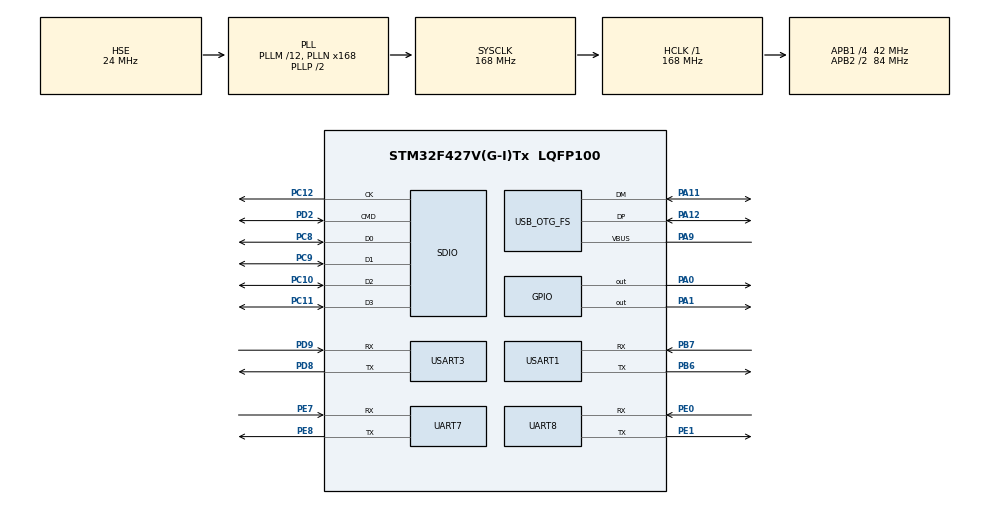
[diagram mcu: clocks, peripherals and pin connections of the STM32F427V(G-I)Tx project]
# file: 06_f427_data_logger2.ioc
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Dma.Request0=USART3_TX
Dma.Request1=SDIO_RX
Dma.Request2=SDIO_TX
Dma.SDIO_RX.1.Direction=DMA_PERIPH_TO_MEMORY
Dma.SDIO_RX.1.FIFOMode=DMA_FIFOMODE_ENABLE
Dma.SDIO_RX.1.FIFOThreshold=DMA_FIFO_THRESHOLD_FULL
Dma.SDIO_RX.1.Instance=DMA2_Stream3
Dma.SDIO_RX.1.MemBurst=DMA_MBURST_INC4
Dma.SDIO_RX.1.MemDataAlignment=DMA_MDATAALIGN_WORD
Dma.SDIO_RX.1.MemInc=DMA_MINC_ENABLE
Dma.SDIO_RX.1.Mode=DMA_PFCTRL
Dma.SDIO_RX.1.PeriphBurst=DMA_PBURST_INC4
Dma.SDIO_RX.1.PeriphDataAlignment=DMA_PDATAALIGN_WORD
Dma.SDIO_RX.1.PeriphInc=DMA_PINC_DISABLE
Dma.SDIO_RX.1.Priority=DMA_PRIORITY_VERY_HIGH
Dma.SDIO_TX.2.Direction=DMA_MEMORY_TO_PERIPH
Dma.SDIO_TX.2.FIFOMode=DMA_FIFOMODE_ENABLE
Dma.SDIO_TX.2.FIFOThreshold=DMA_FIFO_THRESHOLD_FULL
Dma.SDIO_TX.2.Instance=DMA2_Stream6
Dma.SDIO_TX.2.MemBurst=DMA_MBURST_INC4
Dma.SDIO_TX.2.MemDataAlignment=DMA_MDATAALIGN_WORD
Dma.SDIO_TX.2.MemInc=DMA_MINC_ENABLE
Dma.SDIO_TX.2.Mode=DMA_PFCTRL
Dma.SDIO_TX.2.PeriphBurst=DMA_PBURST_INC4
Dma.SDIO_TX.2.PeriphDataAlignment=DMA_PDATAALIGN_WORD
Dma.SDIO_TX.2.PeriphInc=DMA_PINC_DISABLE
Dma.SDIO_TX.2.Priority=DMA_PRIORITY_VERY_HIGH
Dma.USART3_TX.0.Direction=DMA_MEMORY_TO_PERIPH
Dma.USART3_TX.0.FIFOMode=DMA_FIFOMODE_DISABLE
Dma.USART3_TX.0.Instance=DMA1_Stream3
Dma.USART3_TX.0.MemDataAlignment=DMA_MDATAALIGN_BYTE
Dma.USART3_TX.0.MemInc=DMA_MINC_ENABLE
Dma.USART3_TX.0.Mode=DMA_NORMAL
Dma.USART3_TX.0.PeriphDataAlignment=DMA_PDATAALIGN_BYTE
Dma.USART3_TX.0.PeriphInc=DMA_PINC_DISABLE
Dma.USART3_TX.0.Priority=DMA_PRIORITY_LOW
FATFS._CODE_PAGE=949
FATFS._MAX_SS=512
FATFS._USE_LFN=1
Mcu.Family=STM32F4
Mcu.Name=STM32F427V(G-I)Tx
Mcu.Package=LQFP100
NVIC.DMA1_Stream3_IRQn=true\:0\:0\:false\:false\:true\:false\:true\:true
NVIC.DMA2_Stream3_IRQn=true\:0\:0\:false\:false\:true\:false\:true\:true
NVIC.DMA2_Stream6_IRQn=true\:0\:0\:false\:false\:true\:false\:true\:true
NVIC.OTG_FS_IRQn=true\:0\:0\:false\:false\:true\:false\:true\:true
NVIC.PriorityGroup=NVIC_PRIORITYGROUP_4
NVIC.RTC_Alarm_IRQn=true\:5\:0\:true\:false\:true\:true\:true\:true
NVIC.TIM7_IRQn=true\:0\:0\:false\:false\:true\:true\:true\:true
NVIC.UART7_IRQn=true\:1\:0\:true\:false\:true\:true\:true\:true
NVIC.UART8_IRQn=true\:2\:0\:true\:false\:true\:true\:true\:true
NVIC.USART1_IRQn=true\:4\:0\:true\:false\:true\:true\:true\:true
NVIC.USART3_IRQn=true\:3\:0\:true\:false\:true\:true\:true\:true
PA0/WKUP.Signal=GPIO_Output
PA1.Signal=GPIO_Output
PA11.Mode=Device_Only
PA11.Signal=USB_OTG_FS_DM
PA12.Mode=Device_Only
PA12.Signal=USB_OTG_FS_DP
PA9.Mode=Activate_VBUS
PA9.Signal=USB_OTG_FS_VBUS
PB6.Mode=Asynchronous
PB6.Signal=USART1_TX
PB7.Mode=Asynchronous
PB7.Signal=USART1_RX
PC10.Mode=SD_4_bits_Wide_bus
PC10.Signal=SDIO_D2
PC11.Mode=SD_4_bits_Wide_bus
PC11.Signal=SDIO_D3
PC12.Mode=SD_4_bits_Wide_bus
PC12.Signal=SDIO_CK
PC14/OSC32_IN.Mode=LSE-External-Oscillator
PC14/OSC32_IN.Signal=RCC_OSC32_IN
PC15/OSC32_OUT.Mode=LSE-External-Oscillator
PC15/OSC32_OUT.Signal=RCC_OSC32_OUT
PC8.Mode=SD_4_bits_Wide_bus
PC8.Signal=SDIO_D0
PC9.Mode=SD_4_bits_Wide_bus
PC9.Signal=SDIO_D1
PD2.Mode=SD_4_bits_Wide_bus
PD2.Signal=SDIO_CMD
PD8.Mode=Asynchronous
PD8.Signal=USART3_TX
PD9.Mode=Asynchronous
PD9.Signal=USART3_RX
PE0.Mode=Asynchronous
PE0.Signal=UART8_RX
PE1.Mode=Asynchronous
PE1.Signal=UART8_TX
PE7.Mode=Asynchronous
PE7.Signal=UART7_RX
PE8.Mode=Asynchronous
PE8.Signal=UART7_TX
PH0/OSC_IN.Mode=HSE-External-Oscillator
PH0/OSC_IN.Signal=RCC_OSC_IN
PH1/OSC_OUT.Mode=HSE-External-Oscillator
PH1/OSC_OUT.Signal=RCC_OSC_OUT
ProjectManager.HeapSize=0x4000
ProjectManager.StackSize=0x8000
ProjectManager.TargetToolchain=STM32CubeIDE
RCC.48MHZClocksFreq_Value=48000000
RCC.AHBFreq_Value=168000000
RCC.APB1CLKDivider=RCC_HCLK_DIV4
RCC.APB1Freq_Value=42000000
RCC.APB1TimFreq_Value=84000000
RCC.APB2CLKDivider=RCC_HCLK_DIV2
RCC.APB2Freq_Value=84000000
RCC.APB2TimFreq_Value=168000000
RCC.CortexFreq_Value=168000000
RCC.HCLKFreq_Value=168000000
RCC.HSE_VALUE=24000000
RCC.HSI_VALUE=16000000
RCC.PLLM=12
RCC.PLLN=168
RCC.PLLQ=7
RCC.RCC_RTC_Clock_Source=RCC_RTCCLKSOURCE_LSE
RCC.RCC_RTC_Clock_SourceVirtual=RCC_RTCCLKSOURCE_HSE_DIV24
RCC.RCC_RTC_Clock_Source_FROM_HSE=RCC_RTCCLKSOURCE_HSE_DIV24
RCC.SYSCLKFreq_VALUE=168000000
RCC.SYSCLKSource=RCC_SYSCLKSOURCE_PLLCLK
RCC.VCOOutputFreq_Value=336000000
RTC.Alarm=RTC_ALARM_A
RTC.AsynchPrediv=127
RTC.Date=1
RTC.DayLightSaving=RTC_DAYLIGHTSAVING_NONE
RTC.Format=RTC_FORMAT_BIN
RTC.HourFormat=RTC_HOURFORMAT_24
RTC.Hours=23
RTC.Minutes=59
RTC.Month=RTC_MONTH_JANUARY
RTC.Seconds=59
RTC.StoreOperation=RTC_STOREOPERATION_RESET
RTC.SynchPrediv=255
RTC.Year=22
SDIO.ClockDiv=10
TIM7.Period=9999
TIM7.Prescaler=8399
UART7.VirtualMode=Asynchronous
UART8.VirtualMode=Asynchronous
USART1.VirtualMode=VM_ASYNC
USART3.OverSampling=UART_OVERSAMPLING_8
USART3.VirtualMode=VM_ASYNC
USB_DEVICE.CLASS_NAME_FS=MSC
USB_DEVICE.LANGID_STRING-MSC_FS=1042
USB_DEVICE.MANUFACTURER_STRING-MSC_FS=THE PEACH
USB_DEVICE.PRODUCT_STRING_MSC_FS=THE PEACH Storage
USB_DEVICE.VirtualMode-MSC_FS=Msc
USB_DEVICE.VirtualModeFS=Msc_FS
USB_OTG_FS.VirtualMode=Device_Only
VP_FATFS_VS_SDIO.Mode=SDIO
VP_RTC_VS_RTC_Activate.Mode=RTC_Enabled
VP_RTC_VS_RTC_Alarm_A_Intern.Mode=Alarm A
VP_RTC_VS_RTC_Calendar.Mode=RTC_Calendar
VP_TIM7_VS_ClockSourceINT.Mode=Enable_Timer
VP_USB_DEVICE_VS_USB_DEVICE_MSC_FS.Mode=MSC_FS
board=custom

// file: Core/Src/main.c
/* USER CODE BEGIN Header */
/**
  ******************************************************************************
  * @file           : main.c
  * @brief          : Main program body
  ******************************************************************************
  * @attention
  *
  * Copyright (c) 2022 STMicroelectronics.
  * All rights reserved.
  *
  * This software is licensed under terms that can be found in the LICENSE file
  * in the root directory of this software component.
  * If no LICENSE file comes with this software, it is provided AS-IS.
  *
  ******************************************************************************
  */
/* USER CODE END Header */
#include "main.h"
#include "fatfs.h"
#include "usb_device.h"

/* USER CODE BEGIN Includes */
#include "File_Handling.h"
RTC_AlarmTypeDef sAlarm;
RTC_TimeTypeDef sTime;
RTC_DateTypeDef sDate;
FILINFO ano;
FRESULT afresult;
FATFS *apfs;
FATFS afs;
FIL afil;
UINT abr;

/* USER CODE END Includes */

/* USER CODE BEGIN PTD */
HAL_SD_CardInfoTypeDef SDCardInfo;
/* USER CODE END PTD */

 RTC_HandleTypeDef hrtc;

SD_HandleTypeDef hsd;
DMA_HandleTypeDef hdma_sdio_rx;
DMA_HandleTypeDef hdma_sdio_tx;

TIM_HandleTypeDef htim7;

UART_HandleTypeDef huart7;
UART_HandleTypeDef huart8;
UART_HandleTypeDef huart1;
UART_HandleTypeDef huart3;
DMA_HandleTypeDef hdma_usart3_tx;

void SystemClock_Config(void);
static void MX_GPIO_Init(void);
static void MX_SDIO_SD_Init(void);
static void MX_UART8_Init(void);
static void MX_RTC_Init(void);
static void MX_TIM7_Init(void);
static void MX_USART3_UART_Init(void);
static void MX_DMA_Init(void);
static void MX_USART1_UART_Init(void);
static void MX_UART7_Init(void);

/* USER CODE BEGIN 0 */
uint8_t buffer[100]={0};
int indx = 0;

#include <stdio.h>
#include <stdlib.h>
#include <string.h>
char aShowTime[10] = {0};
char aShowDate[9] = {0};
char aSensData[150]={0};
uint8_t SensData=0;
uint8_t SensData_index=0;
char aSensDatacall[24]="{CMD=20,DADDR=1,CHS=999}";
char Temp[10]={0};	//Temperature
char Hum[10]={0};	//humidity
char Sun[10]={0};	// sunshine
char Rain[2]={0};	// rain direction
char Wind_direction[10];
char Wind_d[10];	// wind direction
char Wind_s[7]={0};	// wind speed
char SMO[10]={0};	// soil moisture
char STP[10]={0};	// soil Temperature
char SEC[10]={0};	// soil EC
int i=0;
int alram_cnt=0;

char Fname[20]={0};	//file name save

/*command for file read, RTC setup*/
#define rx_buf 64
uint8_t recvbf[rx_buf]={0};
uint8_t cm_Rx=0;
uint8_t rx_index=0;
uint8_t readF[64];

/* RTC Setup */

uint8_t h;
uint8_t m;
uint8_t s;
uint8_t Y;
uint8_t M;
uint8_t D;

void RTC_CalendarShow(uint8_t *showtime, uint8_t *showdate)
{
  RTC_DateTypeDef sdatestructureget;
  RTC_TimeTypeDef stimestructureget;

  /* Get the RTC current Time */
  HAL_RTC_GetTime(&hrtc, &stimestructureget, RTC_FORMAT_BIN);
  /* Get the RTC current Date */
  HAL_RTC_GetDate(&hrtc, &sdatestructureget, RTC_FORMAT_BIN);

  /* Display time Format: hh:mm:ss */
  sprintf((char*)showtime,"%02d:%02d:%02d",stimestructureget.Hours, stimestructureget.Minutes, stimestructureget.Seconds);
  /* Display date Format: mm-dd-yy */
  sprintf((char*)showdate,"%02d%02d%02d",2000+sdatestructureget.Year, sdatestructureget.Month,sdatestructureget.Date);

}
void HAL_TIM_PeriodElapsedCallback(TIM_HandleTypeDef *htim)
{
	HAL_GPIO_TogglePin(GPIOA, GPIO_PIN_1);
	if(htim->Instance ==TIM7)
	{

		i++;
		if(i>9)
		{
			HAL_UART_Transmit(&huart7, aSensDatacall, sizeof(aSensDatacall), 1);
			i=0;
		}
	}
}
void HAL_RTC_AlarmAEventCallback(RTC_HandleTypeDef *hrtc)
{
	HAL_RTC_GetTime(hrtc, &sTime, RTC_FORMAT_BIN);
	if (sTime.Minutes==00 || sTime.Minutes==10 || sTime.Minutes==20 || sTime.Minutes==30 || sTime.Minutes==40 || sTime.Minutes==50)
	{
	strcpy(Fname, aShowDate);
	strcat(Fname,".csv");
	Mount_SD("/");
	afresult  =f_stat(Fname,&ano);
	if(afresult != FR_OK)
	{
		Create_File(Fname);
		Update_File(Fname, "\r\nTime,Temp,Hum,Sun,Rain,Wind_d,Wind_s,SMO,STP,SEC\r\n");
		Update_File(Fname, buffer);
		Unmount_SD("/");
		Mount_SD("/");
	}

	RTC_CalendarShow(aShowTime, aShowDate);
	strcat(buffer, aShowTime);
	strcat(buffer,",");
	strcat(buffer, Temp);
	strcat(buffer,",");
	strcat(buffer, Hum);
	strcat(buffer,",");
	strcat(buffer, Sun);
	strcat(buffer,",");
	strcat(buffer, Rain);
	strcat(buffer,",");
	strcat(buffer, Wind_d);
	strcat(buffer,",");
	strcat(buffer, Wind_s);
	strcat(buffer,",");
	strcat(buffer, SMO);
	strcat(buffer,",");
	strcat(buffer, STP);
	strcat(buffer,",");
	strcat(buffer, SEC);
	strcat(buffer,"\r\n");

	Update_File(Fname, buffer);
	memset(buffer, 0, sizeof(buffer));

	Unmount_SD("/");
	}
}
void command();
void sensdataget()
{
	if (SensData!= '\0' && SensData_index<150)
	{
		aSensData[SensData_index]=SensData;
		SensData_index++;
	}
	else
	{
		char *str;
		char *str2=NULL;
		str=strtok_r(aSensData,"{=,}",&str2);

		while(str != NULL)
		{
			str=strtok_r(NULL,"{=,}",&str2);
			if(strcmp(str,"ST001")==0)
			{
				str=strtok_r(NULL,"{=,}",&str2);
				strcpy(Temp, str);
			}
			else if(strcmp(str,"ST002")==0)
			{
				str=strtok_r(NULL,"{=,}",&str2);
				strcpy(Hum, str);
			}
			else if(strcmp(str,"ST008")==0)
			{
				str=strtok_r(NULL,"{=,}",&str2);
				strcpy(Sun, str);
			}
			else if(strcmp(str,"ST010")==0)
			{
				str=strtok_r(NULL,"{=,}",&str2);
				strcpy(Wind_direction, str);
				strcpy(Wind_d, str);
				strcpy(Wind_direction, str);

			}
			else if(strcmp(str,"ST009")==0)
			{
				str=strtok_r(NULL,"{=,}",&str2);
				strcpy(Wind_s, str);
			}
			else if(strcmp(str,"ST014")==0)
			{
				str=strtok_r(NULL,"{=,}",&str2);
				strcpy(Rain, str);
			}
			else if(strcmp(str,"SMO")==0)
			{
				str=strtok_r(NULL,"{=,}",&str2);
				strcpy(SMO, str);
			}
			else if(strcmp(str,"STP")==0)
			{
				str=strtok_r(NULL,"{=,}",&str2);
				strcpy(STP, str);
			}
			else if(strcmp(str,"SEC")==0)
			{
				str=strtok_r(NULL,"{=,}",&str2);
				strcpy(SEC, str);
			}
		}
		SensData_index=0;
		memset(aSensData,0,sizeof(aSensData));
	}
	HAL_UART_Receive_IT(&huart7, &SensData, 1);
}

void HAL_UART_RxCpltCallback(UART_HandleTypeDef *huart)
{
	if(huart->Instance==huart7.Instance)
	{
		sensdataget();
	}
	if(huart->Instance==huart3.Instance)
	{
		command();
	}
}

/* USER CODE END 0 */

int main(void)
{

  /* MCU Configuration--------------------------------------------------------*/

  /* Reset of all peripherals, Initializes the Flash interface and the Systick. */
  HAL_Init();

  /* Configure the system clock */
  SystemClock_Config();

  /* Initialize all configured peripherals */
  MX_GPIO_Init();
  MX_SDIO_SD_Init();
  MX_FATFS_Init();
  MX_UART8_Init();
  MX_RTC_Init();
  MX_TIM7_Init();
  MX_USART3_UART_Init();
  MX_DMA_Init();
  MX_USART1_UART_Init();
  MX_UART7_Init();
  MX_USB_DEVICE_Init();
  /* USER CODE BEGIN 2 */
  HAL_GPIO_WritePin(GPIOA, GPIO_PIN_0, RESET);
  afresult = f_mount(&afs, "/", 1);
  if (afresult!=FR_OK)
  {
	  HAL_GPIO_WritePin(GPIOA, GPIO_PIN_0, SET);
  }

  Unmount_SD("/");

  HAL_TIM_Base_Start_IT(&htim7);
  sAlarm.AlarmTime.Seconds=0x00;
  sAlarm.AlarmMask = RTC_ALARMMASK_DATEWEEKDAY|RTC_ALARMMASK_HOURS|RTC_ALARMMASK_MINUTES;
  sAlarm.Alarm = RTC_ALARM_A;
  HAL_RTC_SetAlarm_IT(&hrtc, &sAlarm, RTC_FORMAT_BCD);
  HAL_UART_Receive_IT(&huart3, &cm_Rx, 1);
  HAL_UART_Receive_IT(&huart7, &SensData, 1);

  /* USER CODE END 2 */

  /* Infinite loop */
  while (1)
  {

    /* USER CODE BEGIN 3 */
  RTC_CalendarShow(aShowTime, aShowDate);

  }
  /* USER CODE END 3 */
}

void SystemClock_Config(void)
{
  RCC_OscInitTypeDef RCC_OscInitStruct = {0};
  RCC_ClkInitTypeDef RCC_ClkInitStruct = {0};

  /** Configure the main internal regulator output voltage
  */
  __HAL_RCC_PWR_CLK_ENABLE();
  __HAL_PWR_VOLTAGESCALING_CONFIG(PWR_REGULATOR_VOLTAGE_SCALE1);

  /** Initializes the RCC Oscillators according to the specified parameters
  * in the RCC_OscInitTypeDef structure.
  */
  RCC_OscInitStruct.OscillatorType = RCC_OSCILLATORTYPE_HSE|RCC_OSCILLATORTYPE_LSE;
  RCC_OscInitStruct.HSEState = RCC_HSE_ON;
  RCC_OscInitStruct.LSEState = RCC_LSE_ON;
  RCC_OscInitStruct.PLL.PLLState = RCC_PLL_ON;
  RCC_OscInitStruct.PLL.PLLSource = RCC_PLLSOURCE_HSE;
  RCC_OscInitStruct.PLL.PLLM = 12;
  RCC_OscInitStruct.PLL.PLLN = 168;
  RCC_OscInitStruct.PLL.PLLP = RCC_PLLP_DIV2;
  RCC_OscInitStruct.PLL.PLLQ = 7;
  if (HAL_RCC_OscConfig(&RCC_OscInitStruct) != HAL_OK)
  {
    Error_Handler();
  }

  /** Initializes the CPU, AHB and APB buses clocks
  */
  RCC_ClkInitStruct.ClockType = RCC_CLOCKTYPE_HCLK|RCC_CLOCKTYPE_SYSCLK
                              |RCC_CLOCKTYPE_PCLK1|RCC_CLOCKTYPE_PCLK2;
  RCC_ClkInitStruct.SYSCLKSource = RCC_SYSCLKSOURCE_PLLCLK;
  RCC_ClkInitStruct.AHBCLKDivider = RCC_SYSCLK_DIV1;
  RCC_ClkInitStruct.APB1CLKDivider = RCC_HCLK_DIV4;
  RCC_ClkInitStruct.APB2CLKDivider = RCC_HCLK_DIV2;

  if (HAL_RCC_ClockConfig(&RCC_ClkInitStruct, FLASH_LATENCY_5) != HAL_OK)
  {
    Error_Handler();
  }
}

static void MX_RTC_Init(void)
{

  RTC_TimeTypeDef sTime = {0};
  RTC_DateTypeDef sDate = {0};
  RTC_AlarmTypeDef sAlarm = {0};

  /** Initialize RTC Only
  */
  hrtc.Instance = RTC;
  hrtc.Init.HourFormat = RTC_HOURFORMAT_24;
  hrtc.Init.AsynchPrediv = 127;
  hrtc.Init.SynchPrediv = 255;
  hrtc.Init.OutPut = RTC_OUTPUT_DISABLE;
  hrtc.Init.OutPutPolarity = RTC_OUTPUT_POLARITY_HIGH;
  hrtc.Init.OutPutType = RTC_OUTPUT_TYPE_OPENDRAIN;
  if (HAL_RTC_Init(&hrtc) != HAL_OK)
  {
    Error_Handler();
  }

  /* USER CODE BEGIN Check_RTC_BKUP */
  if(HAL_RTCEx_BKUPRead(&hrtc, RTC_BKP_DR0) !=0x32F2)
    {
  /* USER CODE END Check_RTC_BKUP */

  /** Initialize RTC and set the Time and Date
  */
  sTime.Hours = 23;
  sTime.Minutes = 59;
  sTime.Seconds = 59;
  sTime.DayLightSaving = RTC_DAYLIGHTSAVING_NONE;
  sTime.StoreOperation = RTC_STOREOPERATION_RESET;
  if (HAL_RTC_SetTime(&hrtc, &sTime, RTC_FORMAT_BIN) != HAL_OK)
  {
    Error_Handler();
  }
  sDate.WeekDay = RTC_WEEKDAY_MONDAY;
  sDate.Month = RTC_MONTH_JANUARY;
  sDate.Date = 1;
  sDate.Year = 22;

  if (HAL_RTC_SetDate(&hrtc, &sDate, RTC_FORMAT_BIN) != HAL_OK)
  {
    Error_Handler();
  }

  /** Enable the Alarm A
  */
  sAlarm.AlarmTime.Hours = 0;
  sAlarm.AlarmTime.Minutes = 0;
  sAlarm.AlarmTime.Seconds = 0;
  sAlarm.AlarmTime.SubSeconds = 0;
  sAlarm.AlarmTime.DayLightSaving = RTC_DAYLIGHTSAVING_NONE;
  sAlarm.AlarmTime.StoreOperation = RTC_STOREOPERATION_RESET;
  sAlarm.AlarmMask = RTC_ALARMMASK_NONE;
  sAlarm.AlarmSubSecondMask = RTC_ALARMSUBSECONDMASK_ALL;
  sAlarm.AlarmDateWeekDaySel = RTC_ALARMDATEWEEKDAYSEL_DATE;
  sAlarm.AlarmDateWeekDay = 1;
  sAlarm.Alarm = RTC_ALARM_A;
  if (HAL_RTC_SetAlarm_IT(&hrtc, &sAlarm, RTC_FORMAT_BIN) != HAL_OK)
  {
    Error_Handler();
  }
  /* USER CODE BEGIN RTC_Init 2 */
 	  HAL_RTCEx_BKUPWrite(&hrtc, RTC_BKP_DR0, 0x32F2);
   }
  /* USER CODE END RTC_Init 2 */

}

static void MX_SDIO_SD_Init(void)
{

  hsd.Instance = SDIO;
  hsd.Init.ClockEdge = SDIO_CLOCK_EDGE_RISING;
  hsd.Init.ClockBypass = SDIO_CLOCK_BYPASS_DISABLE;
  hsd.Init.ClockPowerSave = SDIO_CLOCK_POWER_SAVE_DISABLE;
  hsd.Init.BusWide = SDIO_BUS_WIDE_1B;
  hsd.Init.HardwareFlowControl = SDIO_HARDWARE_FLOW_CONTROL_DISABLE;
  hsd.Init.ClockDiv = 10;

}

static void MX_TIM7_Init(void)
{

  TIM_MasterConfigTypeDef sMasterConfig = {0};

  htim7.Instance = TIM7;
  htim7.Init.Prescaler = 8399;
  htim7.Init.CounterMode = TIM_COUNTERMODE_UP;
  htim7.Init.Period = 9999;
  htim7.Init.AutoReloadPreload = TIM_AUTORELOAD_PRELOAD_DISABLE;
  if (HAL_TIM_Base_Init(&htim7) != HAL_OK)
  {
    Error_Handler();
  }
  sMasterConfig.MasterOutputTrigger = TIM_TRGO_RESET;
  sMasterConfig.MasterSlaveMode = TIM_MASTERSLAVEMODE_DISABLE;
  if (HAL_TIMEx_MasterConfigSynchronization(&htim7, &sMasterConfig) != HAL_OK)
  {
    Error_Handler();
  }

}

static void MX_UART7_Init(void)
{

  huart7.Instance = UART7;
  huart7.Init.BaudRate = 115200;
  huart7.Init.WordLength = UART_WORDLENGTH_8B;
  huart7.Init.StopBits = UART_STOPBITS_1;
  huart7.Init.Parity = UART_PARITY_NONE;
  huart7.Init.Mode = UART_MODE_TX_RX;
  huart7.Init.HwFlowCtl = UART_HWCONTROL_NONE;
  huart7.Init.OverSampling = UART_OVERSAMPLING_16;
  if (HAL_UART_Init(&huart7) != HAL_OK)
  {
    Error_Handler();
  }

}

static void MX_UART8_Init(void)
{

  huart8.Instance = UART8;
  huart8.Init.BaudRate = 115200;
  huart8.Init.WordLength = UART_WORDLENGTH_8B;
  huart8.Init.StopBits = UART_STOPBITS_1;
  huart8.Init.Parity = UART_PARITY_NONE;
  huart8.Init.Mode = UART_MODE_TX_RX;
  huart8.Init.HwFlowCtl = UART_HWCONTROL_NONE;
  huart8.Init.OverSampling = UART_OVERSAMPLING_16;
  if (HAL_UART_Init(&huart8) != HAL_OK)
  {
    Error_Handler();
  }

}

static void MX_USART1_UART_Init(void)
{

  huart1.Instance = USART1;
  huart1.Init.BaudRate = 115200;
  huart1.Init.WordLength = UART_WORDLENGTH_8B;
  huart1.Init.StopBits = UART_STOPBITS_1;
  huart1.Init.Parity = UART_PARITY_NONE;
  huart1.Init.Mode = UART_MODE_TX_RX;
  huart1.Init.HwFlowCtl = UART_HWCONTROL_NONE;
  huart1.Init.OverSampling = UART_OVERSAMPLING_16;
  if (HAL_UART_Init(&huart1) != HAL_OK)
  {
    Error_Handler();
  }

}

static void MX_USART3_UART_Init(void)
{

  huart3.Instance = USART3;
  huart3.Init.BaudRate = 115200;
  huart3.Init.WordLength = UART_WORDLENGTH_8B;
  huart3.Init.StopBits = UART_STOPBITS_1;
  huart3.Init.Parity = UART_PARITY_NONE;
  huart3.Init.Mode = UART_MODE_TX_RX;
  huart3.Init.HwFlowCtl = UART_HWCONTROL_NONE;
  huart3.Init.OverSampling = UART_OVERSAMPLING_8;
  if (HAL_UART_Init(&huart3) != HAL_OK)
  {
    Error_Handler();
  }

}

static void MX_DMA_Init(void)
{

  /* DMA controller clock enable */
  __HAL_RCC_DMA1_CLK_ENABLE();
  __HAL_RCC_DMA2_CLK_ENABLE();

  /* DMA interrupt init */
  /* DMA1_Stream3_IRQn interrupt configuration */
  HAL_NVIC_SetPriority(DMA1_Stream3_IRQn, 0, 0);
  HAL_NVIC_EnableIRQ(DMA1_Stream3_IRQn);
  /* DMA2_Stream3_IRQn interrupt configuration */
  HAL_NVIC_SetPriority(DMA2_Stream3_IRQn, 0, 0);
  HAL_NVIC_EnableIRQ(DMA2_Stream3_IRQn);
  /* DMA2_Stream6_IRQn interrupt configuration */
  HAL_NVIC_SetPriority(DMA2_Stream6_IRQn, 0, 0);
  HAL_NVIC_EnableIRQ(DMA2_Stream6_IRQn);

}

static void MX_GPIO_Init(void)
{
  GPIO_InitTypeDef GPIO_InitStruct = {0};

  /* GPIO Ports Clock Enable */
  __HAL_RCC_GPIOC_CLK_ENABLE();
  __HAL_RCC_GPIOH_CLK_ENABLE();
  __HAL_RCC_GPIOA_CLK_ENABLE();
  __HAL_RCC_GPIOE_CLK_ENABLE();
  __HAL_RCC_GPIOD_CLK_ENABLE();
  __HAL_RCC_GPIOB_CLK_ENABLE();

  /*Configure GPIO pin Output Level */
  HAL_GPIO_WritePin(GPIOA, GPIO_PIN_0|GPIO_PIN_1, GPIO_PIN_RESET);

  /*Configure GPIO pins : PA0 PA1 */
  GPIO_InitStruct.Pin = GPIO_PIN_0|GPIO_PIN_1;
  GPIO_InitStruct.Mode = GPIO_MODE_OUTPUT_PP;
  GPIO_InitStruct.Pull = GPIO_NOPULL;
  GPIO_InitStruct.Speed = GPIO_SPEED_FREQ_LOW;
  HAL_GPIO_Init(GPIOA, &GPIO_InitStruct);

}

/* USER CODE BEGIN 4 */
void command()
{
	int cnt_read=0;
	if (cm_Rx!= '*' && rx_index < 64)
	{
		recvbf[rx_index++]=cm_Rx;
	}
	else
	{
		if(recvbf[0]=='#')
		{
			if(recvbf[1]=='$')
			{
				for( cnt_read=0; cnt_read<64; cnt_read++)
				{
					if(recvbf[2+cnt_read]!='%')
					{
						readF[cnt_read]=recvbf[2+cnt_read];
					}
				}
				cnt_read=0;
				Mount_SD("/");
				Read_File(readF);
				Unmount_SD("/");
				memset(readF, 0, sizeof(readF));
				memset(recvbf, 0, sizeof(recvbf));

			}
			else if(recvbf[1]=='t')//time setup
			{
				for(int i=0; i<64; i++)
				{
					if(recvbf[2+i]=='%')
					{
						break;
					}
					else
					{
						readF[i]=recvbf[2+i];
					}
				}
				HAL_RTC_GetTime(&hrtc, &sTime, RTC_FORMAT_BIN);

				h=atoi(strtok(readF,"."));
				m=atoi(strtok(NULL,"."));
				s=atoi(strtok(NULL,"."));

				sTime.Hours=h;
				sTime.Minutes=m;
				sTime.Seconds=s;
				sTime.TimeFormat = RTC_HOURFORMAT_24;
				char bshowtime[32]={0};
				sprintf(bshowtime,"\r\n**Time Setup %02d:%02d:%02d \r\n",sTime.Hours, sTime.Minutes, sTime.Seconds);
				HAL_RTC_SetTime(&hrtc, &sTime, RTC_FORMAT_BIN);
				HAL_UART_Transmit(&huart3, bshowtime, sizeof(bshowtime), HAL_MAX_DELAY);
				rx_index =0;
				memset(readF, 0, sizeof(readF));
				memset(recvbf, 0, sizeof(recvbf));

			}
			else if(recvbf[1]=='d')//date setup
			{
				for(int i=0; i<64; i++)
				{
					if(recvbf[2+i]=='%')
					{
						break;
					}
					else
					{
						readF[i]=recvbf[2+i];
					}
				}

				Y=atoi(strtok(readF,"."));
				M=atoi(strtok(NULL,"."));
				D=atoi(strtok(NULL,"."));
				HAL_RTC_SetDate(&hrtc, &sDate, RTC_FORMAT_BIN);
				sDate.Year=Y;
				sDate.Month=M;
				sDate.Date=D;
				char bshowdate[32]={0};
				sprintf(bshowdate,"\r\n**Date Setup %02d.%02d.%02d. \r\n",sDate.Year, sDate.Month, sDate.Date);
				HAL_UART_Transmit(&huart3, bshowdate, sizeof(bshowdate), HAL_MAX_DELAY);
				HAL_RTC_SetDate(&hrtc, &sDate, RTC_FORMAT_BIN);
				rx_index =0;
				memset(readF, 0, sizeof(readF));
				memset(recvbf, 0, sizeof(recvbf));

			}
			else if(recvbf[1]=='s')//scan file
			{
				for(int i=0; i<64; i++)
				{
					if(recvbf[2+i]=='%')
					{
						break;
					}
					else
					{
						readF[i]=recvbf[2+i];
					}
				}
				Mount_SD("/");
				Scan_SD(readF);
				Unmount_SD("/");
				rx_index =0;
				memset(readF, 0, sizeof(readF));
				memset(recvbf, 0, sizeof(recvbf));

			}
		}
		rx_index =0;
	}
	HAL_UART_Receive_IT(&huart3, &cm_Rx, 1);
}
/* USER CODE END 4 */

void Error_Handler(void)
{
  /* USER CODE BEGIN Error_Handler_Debug */
  /* User can add his own implementation to report the HAL error return state */
  __disable_irq();
  while (1)
  {
	  HAL_GPIO_WritePin(GPIOA, GPIO_PIN_0, SET);
  }
  /* USER CODE END Error_Handler_Debug */
}
